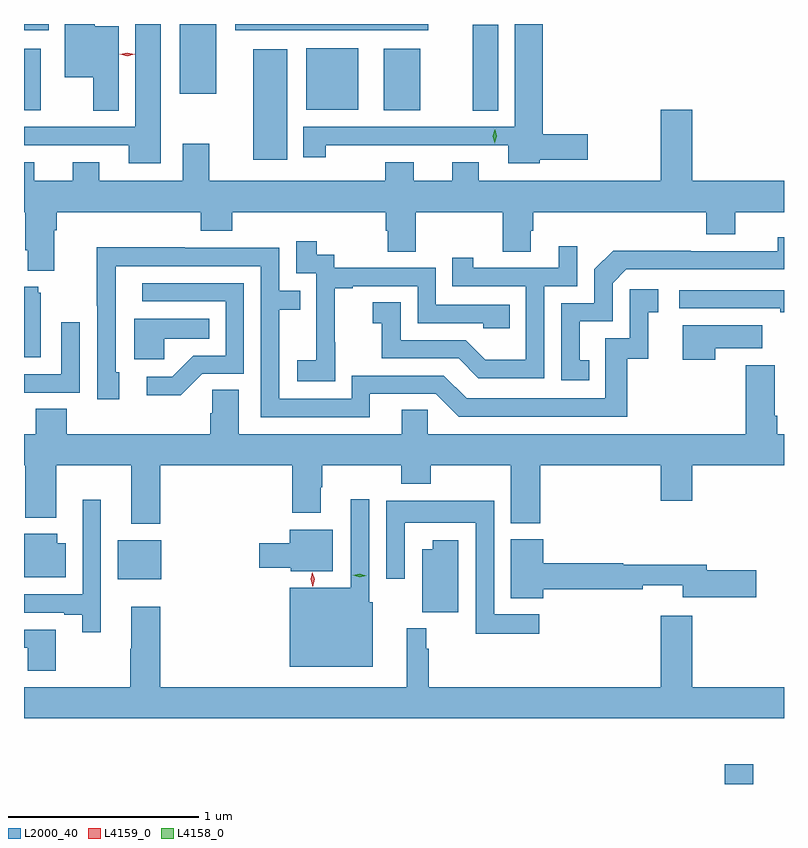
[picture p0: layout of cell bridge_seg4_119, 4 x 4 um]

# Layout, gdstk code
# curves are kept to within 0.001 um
import gdstk
lib = gdstk.Library(unit=1e-6, precision=1e-09)
def R(c, l, rs):  # rectangles x0, y0, x1, y1
    for r in rs: c.add(gdstk.rectangle(r[:2], r[2:], *l))
def P(c, l, *ps):  # polygons
    for p in ps: c.add(gdstk.Polygon(p, *l))
L2000_40 = (2000, 40)
L4158_0 = (4158, 0)
L4159_0 = (4159, 0)

bridge_seg4_119 = lib.new_cell('bridge_seg4_119')
R(bridge_seg4_119, L2000_40, [(357.153,772.498,357.301,772.603), (353.957,773.576,354.187,773.782), (354.671,775.784,354.85,776.365), (355.826,776.041,355.96,776.494), (353.464,776.045,353.551,776.368), (355.358,776.045,355.549,776.368), (354.95,776.048,355.222,776.371), (354.284,776.132,354.475,776.498), (353.464,776.466,353.593,776.498), (354.575,776.466,355.591,776.498)])
P(bridge_seg4_119, L2000_40, [(354.184,776.498),(354.05,776.498),(354.05,775.956),(353.464,775.956),(353.464,775.86),(354.014,775.86),(354.014,775.766),(354.184,775.766)],
  [(356.178,775.784),(356.431,775.784),(356.431,775.919),(356.195,775.919),(356.195,776.498),(356.048,776.498),(356.048,775.956),(354.935,775.956),(354.935,775.797),(355.053,775.797),(355.053,775.859),(355.28,775.859),(355.28,775.86),(356.012,775.86),(356.012,775.766),(356.178,775.766)],
  [(353.962,776.485),(353.836,776.485),(353.836,776.498),(353.678,776.498),(353.678,776.219),(353.828,776.219),(353.828,776.041),(353.962,776.041)],
  [(353.623,775.412),(353.636,775.412),(353.636,775.508),(354.395,775.508),(354.395,775.409),(354.56,775.409),(354.56,775.508),(355.367,775.508),(355.367,775.41),(355.379,775.41),(355.379,775.3),(355.527,775.3),(355.527,775.508),(355.984,775.508),(355.984,775.3),(356.131,775.3),(356.131,775.41),(356.144,775.41),(356.144,775.508),(357.056,775.508),(357.056,775.391),(357.208,775.391),(357.208,775.508),(357.464,775.508),(357.464,775.672),(356.98,775.672),(356.98,776.047),(356.816,776.047),(356.816,775.672),(355.858,775.672),(355.858,775.771),(355.718,775.771),(355.718,775.672),(355.516,775.672),(355.516,775.771),(355.364,775.771),(355.364,775.672),(354.439,775.672),(354.439,775.867),(354.299,775.867),(354.299,775.672),(353.86,775.672),(353.86,775.771),(353.72,775.771),(353.72,775.672),(353.518,775.672),(353.518,775.771),(353.464,775.771),(353.464,775.508),(353.471,775.508),(353.471,775.306),(353.483,775.306),(353.483,775.199),(353.623,775.199)],
  [(356.438,774.729),(356.389,774.729),(356.389,774.933),(356.562,774.933),(356.562,775.134),(356.634,775.206),(357.464,775.206),(357.464,775.375),(357.432,775.375),(357.432,775.302),(356.972,775.302),(356.972,775.304),(356.564,775.304),(356.466,775.206),(356.466,775.029),(356.292,775.029),(356.292,774.624),(356.438,774.624)],
  [(355.101,774.823),(355.1,774.823),(355.1,775.107),(355.195,775.107),(355.195,775.119),(355.536,775.119),(355.536,774.924),(355.881,774.924),(355.881,774.897),(356.021,774.897),(356.021,775.02),(355.632,775.02),(355.632,775.215),(355.098,775.215),(355.098,775.284),(355.006,775.284),(355.006,775.354),(354.897,775.354),(354.897,775.185),(355.002,775.185),(355.002,774.956),(355.001,774.956),(355.001,774.727),(354.903,774.727),(354.903,774.617),(355.101,774.617)],
  [(356.202,775.119),(356.376,775.119),(356.376,775.327),(356.279,775.327),(356.279,775.215),(355.828,775.215),(355.828,775.267),(355.717,775.267),(355.717,775.119),(356.106,775.119),(356.106,774.73),(355.892,774.73),(355.788,774.834),(355.446,774.834),(355.446,775.033),(355.299,775.033),(355.299,774.923),(355.348,774.923),(355.348,774.738),(355.751,774.738),(355.856,774.633),(356.202,774.633)],
  [(355.285,774.552),(355.632,774.552),(355.752,774.432),(356.639,774.432),(356.639,774.735),(356.75,774.735),(356.75,774.981),(356.803,774.981),(356.803,775.102),(356.652,775.102),(356.652,774.843),(356.523,774.843),(356.523,774.528),(355.794,774.528),(355.674,774.648),(355.188,774.648),(355.188,774.525),(354.807,774.525),(354.807,774.994),(354.917,774.994),(354.917,775.095),(354.807,775.095),(354.807,775.32),(354.311,775.32),(354.311,775.322),(353.848,775.322),(353.848,775.015),(353.85,775.015),(353.85,774.522),(353.965,774.522),(353.965,774.666),(353.946,774.666),(353.947,775.224),(354.711,775.224),(354.711,774.429),(355.285,774.429)],
  [(354.402,774.657),(354.621,774.657),(354.621,775.134),(354.087,775.134),(354.087,775.038),(354.525,775.038),(354.525,774.753),(354.356,774.753),(354.245,774.642),(354.111,774.642),(354.111,774.545),(354.289,774.545)],
  [(353.551,775.083),(353.54,775.083),(353.54,775.114),(353.464,775.114),(353.464,774.743),(353.551,774.743)],
  [(357.464,775.098),(356.913,775.098),(356.913,775.002),(357.445,775.002),(357.445,774.982),(357.464,774.982)],
  [(354.201,774.842),(354.44,774.842),(354.44,774.946),(354.044,774.946),(354.044,774.734),(354.201,774.734)],
  [(353.757,774.928),(353.661,774.928),(353.661,774.654),(353.464,774.654),(353.464,774.558),(353.757,774.558)],
  [(357.101,774.791),(357.349,774.791),(357.349,774.913),(356.93,774.913),(356.93,774.732),(357.101,774.732)],
  [(354.182,774.176),(354.875,774.176),(354.875,773.925),(355.027,773.925),(355.027,774.059),(355.035,774.059),(355.035,774.176),(355.45,774.176),(355.45,774.077),(355.605,774.077),(355.605,774.176),(356.027,774.176),(356.027,773.87),(356.18,773.87),(356.18,774.176),(356.816,774.176),(356.816,773.988),(356.98,773.988),(356.98,774.176),(357.464,774.176),(357.464,774.34),(357.428,774.34),(357.428,774.436),(357.415,774.436),(357.415,774.703),(357.263,774.703),(357.263,774.34),(355.59,774.34),(355.59,774.467),(355.451,774.467),(355.451,774.34),(354.595,774.34),(354.595,774.572),(354.456,774.572),(354.456,774.449),(354.443,774.449),(354.443,774.34),(353.69,774.34),(353.69,774.473),(353.525,774.473),(353.525,774.34),(353.464,774.34),(353.464,774.176),(353.471,774.176),(353.471,773.9),(353.635,773.9),(353.635,774.176),(354.029,774.176),(354.029,773.867),(354.182,773.867)],
  [(355.3,773.454),(355.281,773.454),(355.281,773.998),(355.185,773.998),(355.185,773.53),(354.863,773.53),(354.863,773.114),(355.3,773.114)],
  [(353.868,773.995),(353.772,773.995),(353.772,773.496),(353.464,773.496),(353.464,773.4),(353.675,773.4),(353.675,773.388),(353.771,773.388),(353.771,773.298),(353.868,773.298)],
  [(356.176,773.391),(355.938,773.391),(355.938,773.989),(355.371,773.989),(355.371,773.577),(355.467,773.577),(355.467,773.873),(355.842,773.873),(355.842,773.29),(356.176,773.29)],
  [(355.09,773.836),(354.863,773.836),(354.863,773.766),(354.702,773.766),(354.702,773.636),(354.867,773.636),(354.867,773.618),(355.09,773.618)],
  [(353.683,773.764),(353.638,773.764),(353.638,773.815),(353.464,773.815),(353.464,773.585),(353.683,773.585)],
  [(356.198,773.524),(356.72,773.524),(356.72,773.543),(356.93,773.543),(356.93,773.482),(357.319,773.482),(357.319,773.624),(357.058,773.624),(357.058,773.653),(356.618,773.653),(356.618,773.66),(356.198,773.66),(356.198,773.785),(356.027,773.785),(356.027,773.476),(356.198,773.476)],
  [(355.75,773.782),(355.616,773.782),(355.616,773.734),(355.559,773.734),(355.559,773.402),(355.75,773.402)],
  [(357.464,773.008),(356.98,773.008),(356.98,773.383),(356.816,773.383),(356.816,773.008),(355.595,773.008),(355.595,773.21),(355.58,773.21),(355.58,773.317),(355.478,773.317),(355.478,773.008),(354.182,773.008),(354.182,773.431),(354.029,773.431),(354.029,773.21),(354.022,773.21),(354.022,773.008),(353.464,773.008),(353.464,772.844),(357.464,772.844)],
  [(353.631,773.31),(353.464,773.31),(353.464,773.214),(353.483,773.214),(353.483,773.094),(353.631,773.094)])
P(bridge_seg4_119, L4158_0, [(355.941,775.871),(355.941,775.872),(355.932,775.907),(355.942,775.942),(355.943,775.942),(355.943,775.942),(355.952,775.907),(355.941,775.872)],
  [(355.23,773.585),(355.194,773.596),(355.194,773.597),(355.194,773.597),(355.231,773.605),(355.266,773.594),(355.266,773.593),(355.266,773.593)])
P(bridge_seg4_119, L4159_0, [(354.984,773.537),(354.984,773.537),(354.973,773.575),(354.981,773.613),(354.982,773.613),(354.982,773.613),(354.993,773.575),(354.985,773.537)],
  [(354.008,776.328),(353.967,776.338),(353.967,776.338),(353.967,776.338),(354.008,776.348),(354.048,776.338),(354.049,776.338),(354.048,776.338)])

lib.write_gds('bridge_seg4_119.gds')
